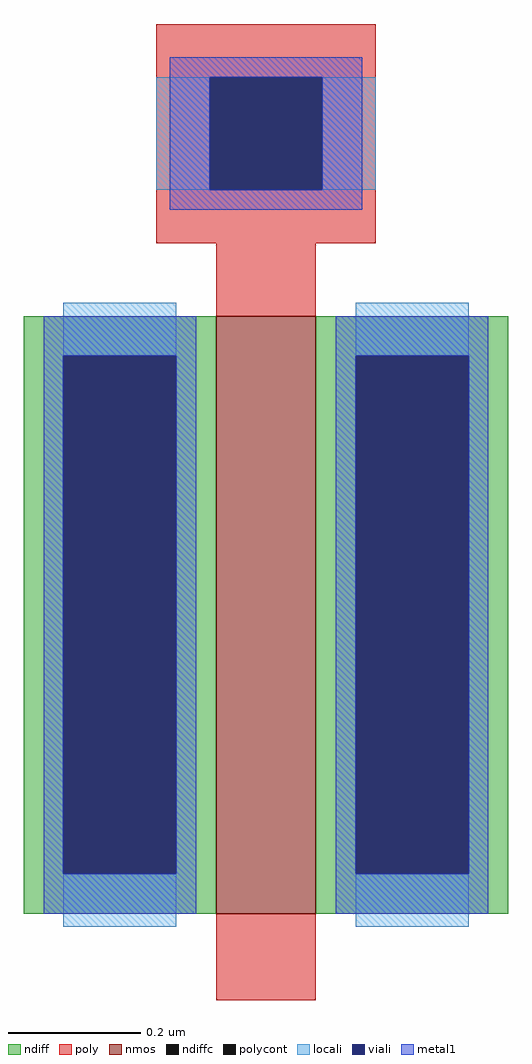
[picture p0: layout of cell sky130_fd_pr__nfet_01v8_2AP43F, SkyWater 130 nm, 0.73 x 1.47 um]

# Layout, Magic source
magic
tech sky130A
magscale 1 2
<< nmos >>
rect -15 -121 15 59
<< ndiff >>
rect -73 47 -15 59
rect -73 -109 -61 47
rect -27 -109 -15 47
rect -73 -121 -15 -109
rect 15 47 73 59
rect 15 -109 27 47
rect 61 -109 73 47
rect 15 -121 73 -109
<< ndiffc >>
rect -61 -109 -27 47
rect 27 -109 61 47
<< poly >>
rect -33 131 33 147
rect -33 97 -17 131
rect 17 97 33 131
rect -33 81 33 97
rect -15 59 15 81
rect -15 -147 15 -121
<< polycont >>
rect -17 97 17 131
<< locali >>
rect -33 97 -17 131
rect 17 97 33 131
rect -61 47 -27 63
rect -61 -125 -27 -109
rect 27 47 61 63
rect 27 -125 61 -109
<< viali >>
rect -17 97 17 131
rect -61 -109 -27 47
rect 27 -109 61 47
<< metal1 >>
rect -29 131 29 137
rect -29 97 -17 131
rect 17 97 29 131
rect -29 91 29 97
rect -67 47 -21 59
rect -67 -109 -61 47
rect -27 -109 -21 47
rect -67 -121 -21 -109
rect 21 47 67 59
rect 21 -109 27 47
rect 61 -109 67 47
rect 21 -121 67 -109
<< properties >>
string gencell sky130_fd_pr__nfet_01v8
string library sky130
string parameters w 0.9 l 0.150 m 1 nf 1 diffcov 100 polycov 100 guard 0 glc 1 grc 1 gtc 1 gbc 1 tbcov 100 rlcov 100 topc 1 botc 0 poverlap 0 doverlap 1 lmin 0.15 wmin 0.42 compatible {sky130_fd_pr__nfet_01v8 sky130_fd_pr__nfet_01v8_lvt  sky130_fd_bs_flash__special_sonosfet_star  sky130_fd_pr__nfet_g5v0d10v5 sky130_fd_pr__nfet_05v0_nvt  sky130_fd_pr__nfet_03v3_nvt} full_metal 1 viasrc 100 viadrn 100 viagate 100 viagb 0 viagr 0 viagl 0 viagt 0
<< end >>
